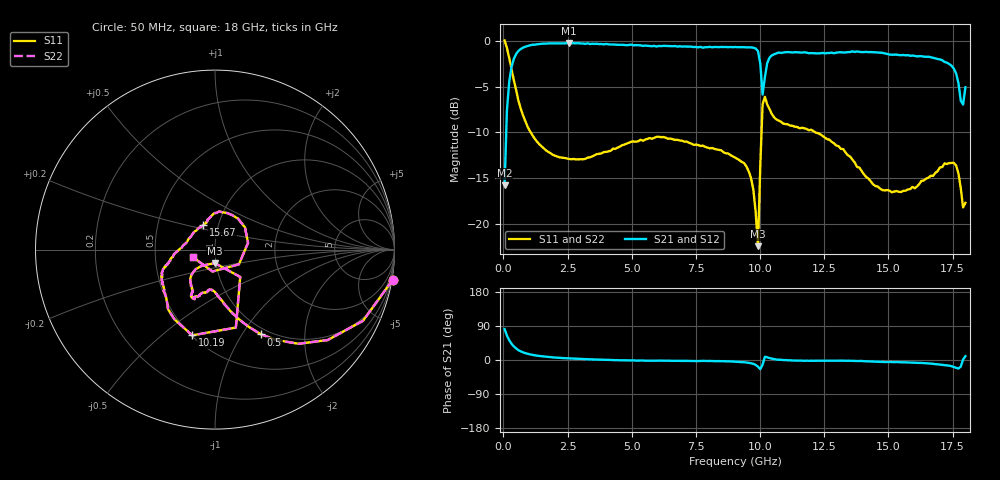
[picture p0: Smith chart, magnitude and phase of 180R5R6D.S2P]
!  American Technical Ceramics  Date:  3/13/98
!  One Norden Lane
!  Huntington Station,  NY.  11746-2102
!  Tel:  (516) 547-5700  Fax:  (516) 547-5748
!  Part Number  180r5r6d
!  Description: Porcelain, High Q, Low ESR
!  Application: Bypass, Coupling, Timing, Feedback
!  Tuning, Impedance Match, Blocking
# GHZ S DB R 50
! Freq  |S11|  S11 Ph  |S21|  S21 Ph  |S12|  S12 Ph  |S22|  S22 Ph
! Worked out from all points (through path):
!   201 points, 50 MHz to 18 GHz, reference 50 ohm
!   highest |S21| = -0.24 dB at 2.56 GHz (marker M1); lowest = -15.8 dB at 50 MHz (marker M2)
!   group delay of S21, straight-line fit = 3.89 ps
!   lowest |S11| = -22.5 dB at 9.92 GHz (marker M3), VSWR 1.16, Z = 49.4 - j7.49 ohm
!   |S11| at or under -10 dB: 1.064 GHz to 10.06 GHz (8.995 GHz wide, 162 % of centre); 12.15 GHz to end of sweep
!   |S22| runs from -22.5 to 0.0 dB; largest |S21 - S12| = 0
!   S11 on the Smith chart (normalised r, x): 50 MHz: -0, -12; 500 MHz: 0.92, -1.22; 10.19 GHz: 0.50, -0.64; 15.67 GHz: 0.85, +0.24; 18 GHz: 0.78, -0.07
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0.05  0.04 -9.6  -15.79 81.6  -15.79 81.6  0.04 -9.6
0.14  -0.77 -25.7  -7.61 64.7  -7.61 64.7  -0.77 -25.7
0.23  -1.88 -38.7  -4.46 52.3  -4.46 52.3  -1.88 -38.7
0.5  -5.39 -61.5  -1.44 30.4  -1.44 30.4  -5.39 -61.5
1.22  -10.70 -81.7  -0.43 12.4  -0.43 12.4  -10.70 -81.7
2.56  -12.92 -93.7  -0.24 4.2  -0.24 4.2  -12.92 -93.7
3.1  -12.96 -98.2  -0.29 2.7  -0.29 2.7  -12.96 -98.2
6.06  -10.49 -113.6  -0.56 -1.7  -0.56 -1.7  -10.49 -113.6
9.03  -12.77 -126.3  -0.67 -4.3  -0.67 -4.3  -12.77 -126.3
9.65  -15.02 -133.8  -0.72 -8.7  -0.72 -8.7  -15.02 -133.8
9.92  -22.46 -90.1  -1.12 -17.6  -1.12 -17.6  -22.46 -90.1
10.01  -13.67 -47.3  -2.49 -24.2  -2.49 -24.2  -13.67 -47.3
10.1  -6.94 -75.0  -5.88 -12.2  -5.88 -12.2  -6.94 -75.0
10.19  -6.12 -104.9  -3.98 8.6  -3.98 8.6  -6.12 -104.9
10.55  -8.38 -135.5  -1.47 2.3  -1.47 2.3  -8.38 -135.5
12.08  -9.87 -157.0  -1.35 -2.1  -1.35 -2.1  -9.87 -157.0
15.04  -16.38 138.3  -1.50 -5.3  -1.50 -5.3  -16.38 138.3
15.67  -16.39 115.7  -1.59 -6.2  -1.59 -6.2  -16.39 115.7
17.1  -13.80 88.5  -2.13 -12.7  -2.13 -12.7  -13.80 88.5
17.64  -13.64 36.7  -3.58 -20.7  -3.58 -20.7  -13.64 36.7
17.82  -16.12 -31.6  -6.55 -17.6  -6.55 -17.6  -16.12 -31.6
18  -17.73 -160.9  -5.08 10.1  -5.08 10.1  -17.73 -160.9
